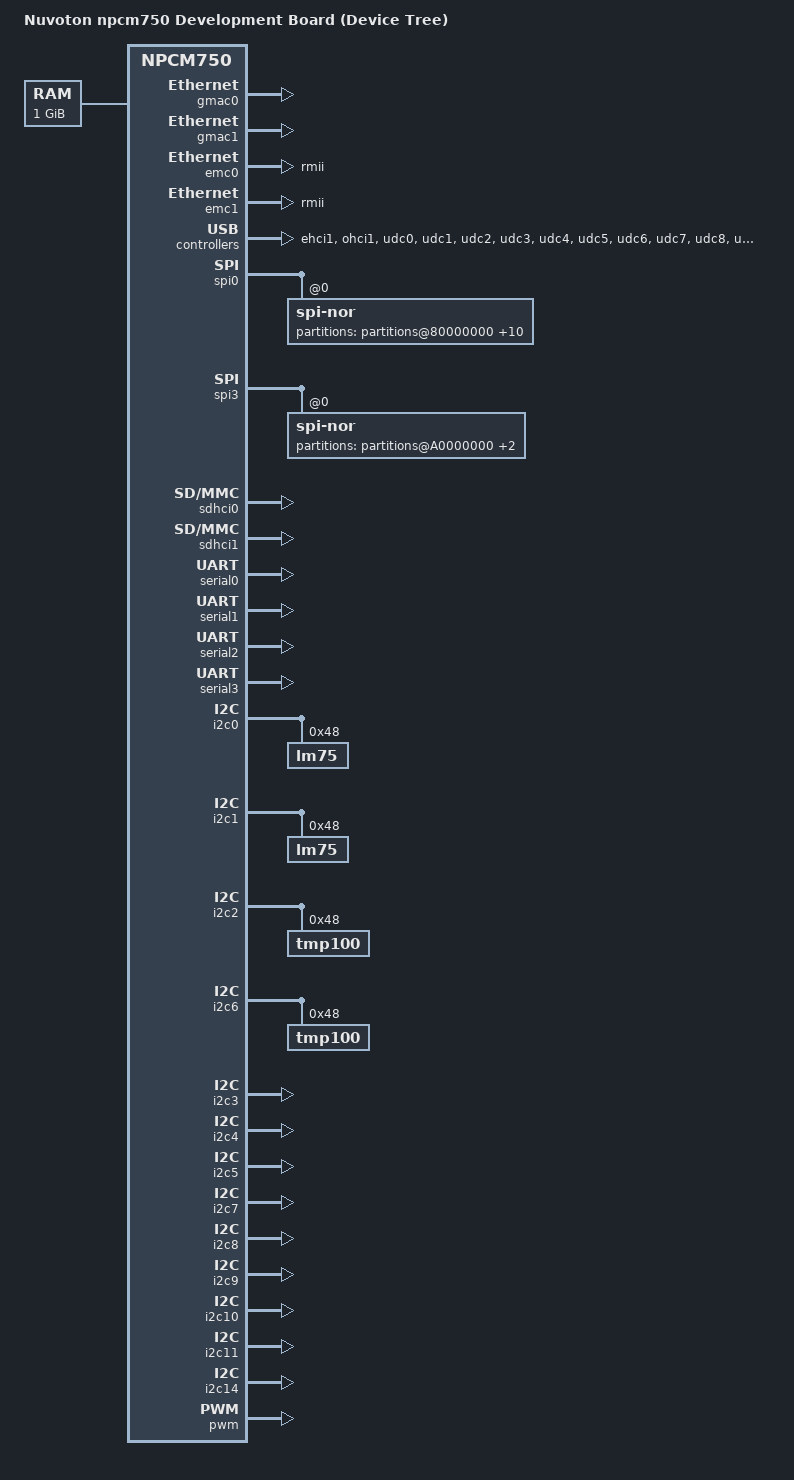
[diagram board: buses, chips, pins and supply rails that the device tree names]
// SPDX-License-Identifier: GPL-2.0
// Copyright (c) 2018 Nuvoton Technology tomer.maimon@nuvoton.com
// Copyright 2018 Google, Inc.

/dts-v1/;
#include "nuvoton-npcm750.dtsi"

/ {
	model = "Nuvoton npcm750 Development Board (Device Tree)";
	compatible = "nuvoton,npcm750";

	aliases {
		ethernet0 = &emc0;
		ethernet1 = &emc1;
		ethernet2 = &gmac0;
		ethernet3 = &gmac1;
		serial0 = &serial0;
		serial1 = &serial1;
		serial2 = &serial2;
		serial3 = &serial3;
		udc0 = &udc0;
		udc1 = &udc1;
		udc2 = &udc2;
		udc3 = &udc3;
		udc4 = &udc4;
		udc5 = &udc5;
		udc6 = &udc6;
		udc7 = &udc7;
		udc8 = &udc8;
		udc9 = &udc9;
		emmc0 = &sdhci0;
		emmc1 = &sdhci1;
		i2c0 = &i2c0;
		i2c1 = &i2c1;
		i2c2 = &i2c2;
		i2c3 = &i2c3;
		i2c4 = &i2c4;
		i2c5 = &i2c5;
		i2c6 = &i2c6;
		i2c7 = &i2c7;
		i2c8 = &i2c8;
		i2c9 = &i2c9;
		i2c10 = &i2c10;
		i2c11 = &i2c11;
		i2c12 = &i2c12;
		i2c13 = &i2c13;
		i2c14 = &i2c14;
		i2c15 = &i2c15;
	};

	chosen {
		stdout-path = &serial3;
	};

	memory {
		reg = <0 0x40000000>;
	};

	ahb {
	        gmac0: eth@f0802000 {
			status = "okay";
		};

		gmac1: eth@f0804000 {
			status = "okay";
		};

		emc0: eth@f0825000 {
			phy-mode = "rmii";
			#use-ncsi; /* add this to support ncsi */
			status = "okay";
		};

		emc1: eth@f0826000 {
			phy-mode = "rmii";
			#use-ncsi; /* add this to support ncsi */
			status = "okay";
		};

		ehci1: ehci@f0806000 {
			status = "okay";
		};

		ohci1: ohci@f0807000 {
			status = "okay";
		};

		udc0:udc@f0830000 {
			status = "okay";
		};

		udc1:udc@f0831000 {
			status = "okay";
		};

		udc2:udc@f0832000 {
			status = "okay";
		};

		udc3:udc@f0833000 {
			status = "okay";
		};

		udc4:udc@f0834000 {
			status = "okay";
		};

		udc5:udc@f0835000 {
			status = "okay";
		};

		udc6:udc@f0836000 {
			status = "okay";
		};

		udc7:udc@f0837000 {
			status = "okay";
		};

		udc8:udc@f0838000 {
			status = "okay";
		};

		udc9:udc@f0839000 {
			status = "okay";
		};

		aes:aes@f0858000 {
			status = "okay";
		};

		sha:sha@f085a000 {
			status = "okay";
		};

		spi0: spi@fb000000 {
			spi-nor@0 {
				partitions@80000000 {
					compatible = "fixed-partitions";
					#address-cells = <1>;
					#size-cells = <1>;
					bbuboot1@0 {
						label = "bb-uboot-1";
						reg = <0x0000000 0x80000>;
						read-only;
						};
					bbuboot2@80000 {
						label = "bb-uboot-2";
						reg = <0x0080000 0x80000>;
						read-only;
						};
					envparam@100000 {
						label = "env-param";
						reg = <0x0100000 0x40000>;
						read-only;
						};
					spare@140000 {
						label = "spare";
						reg = <0x0140000 0xC0000>;
						};
					kernel@200000 {
						label = "kernel";
						reg = <0x0200000 0x400000>;
						};
					rootfs@600000 {
						label = "rootfs";
						reg = <0x0600000 0x700000>;
						};
					spare1@D00000 {
						label = "spare1";
						reg = <0x0D00000 0x200000>;
						};
					spare2@0F00000 {
						label = "spare2";
						reg = <0x0F00000 0x200000>;
						};
					spare3@1100000 {
						label = "spare3";
						reg = <0x1100000 0x200000>;
						};
					spare4@1300000 {
						label = "spare4";
						reg = <0x1300000 0x0>;
					};
				};
			};
		};

		spi3: spi@c0000000 {
				spi-nor@0 {
				partitions@A0000000 {
					compatible = "fixed-partitions";
					#address-cells = <1>;
					#size-cells = <1>;
					system1@0 {
						label = "spi3-system1";
						reg = <0x0 0x800000>;
					};
					system2@800000 {
						label = "spi3-system2";
						reg = <0x800000 0x0>;
					};
				};
			};
		};

		sdhci0: sdhci@f0840000 {
			status = "okay";
		};

		sdhci1: sdhci@f0842000 {
			status = "okay";
		};

		apb {

			watchdog1: watchdog@901C {
				status = "okay";
			};

			rng: rng@b000 {
				status = "okay";
			};

			serial0: serial@1000 {
				status = "okay";
			};

			serial1: serial@2000 {
				status = "okay";
			};

			serial2: serial@3000 {
				status = "okay";
			};

			serial3: serial@4000 {
				status = "okay";
			};

			otp:otp@189000 {
				status = "okay";
			};

			lpc_kcs: lpc_kcs@7000 {
				kcs1: kcs1@0 {
					status = "okay";
				};

				kcs2: kcs2@0 {
					status = "okay";
				};

				kcs3: kcs3@0 {
					status = "okay";
				};
			};

			/* lm75 on SVB */
			i2c0: i2c-bus@80000 {
				#address-cells = <1>;
				#size-cells = <0>;
				status = "okay";

				lm75@48 {
					compatible = "lm75";
					reg = <0x48>;
					status = "okay";
				};
			};

			/* lm75 on EB */
			i2c1: i2c-bus@81000 {
				#address-cells = <1>;
				#size-cells = <0>;
				status = "okay";

				lm75@48 {
					compatible = "lm75";
					reg = <0x48>;
					status = "okay";
				};
			};

			/* tmp100 on EB */
			i2c2: i2c-bus@82000 {
				#address-cells = <1>;
				#size-cells = <0>;
				status = "okay";

				tmp100@48 {
					compatible = "tmp100";
					reg = <0x48>;
					status = "okay";
				};
			};

			/* tmp100 on SVB */
			i2c6: i2c-bus@86000 {
				#address-cells = <1>;
				#size-cells = <0>;
				status = "okay";

				tmp100@48 {
					compatible = "tmp100";
					reg = <0x48>;
					status = "okay";
				};
			};
			i2c3: i2c-bus@83000 {
				#address-cells = <1>;
				#size-cells = <0>;
				status = "okay";
			};

			i2c4: i2c-bus@84000 {
				#address-cells = <1>;
				#size-cells = <0>;
				status = "okay";
			};

			i2c5: i2c-bus@85000 {
				#address-cells = <1>;
				#size-cells = <0>;
				status = "okay";
			};

			i2c7: i2c-bus@87000 {
				#address-cells = <1>;
				#size-cells = <0>;
				status = "okay";
			};

			i2c8: i2c-bus@88000 {
				#address-cells = <1>;
				#size-cells = <0>;
				status = "okay";
			};

			i2c9: i2c-bus@89000 {
				#address-cells = <1>;
				#size-cells = <0>;
				status = "okay";
			};

			i2c10: i2c-bus@8a000 {
				#address-cells = <1>;
				#size-cells = <0>;
				status = "okay";
			};

			i2c11: i2c-bus@8b000 {
				#address-cells = <1>;
				#size-cells = <0>;
				status = "okay";
			};

			i2c14: i2c-bus@8e000 {
				#address-cells = <1>;
				#size-cells = <0>;
				status = "okay";
			};

			i2c15: i2c-bus@8f000 {
				#address-cells = <1>;
				#size-cells = <0>;
				status = "disabled";               /* SVB conflict with pspi2 cs gpio20o_pins */
			};

			fan: fan@0 {
				pinctrl-names = "default";
				pinctrl-0 = </*&fanin0_pins*/     /* SVB conflict with pspi1 enable gpio64o_pins */
						&fanin1_pins
						&fanin2_pins
						&fanin3_pins
						&fanin4_pins
						&fanin5_pins
						&fanin6_pins
						&fanin7_pins
						&fanin8_pins
						&fanin9_pins
						&fanin10_pins
						&fanin11_pins
						&fanin12_pins
						&fanin13_pins
						&fanin14_pins
						&fanin15_pins>;
				status = "okay";
			};

			pwm: pwm@103000 {
				pinctrl-names = "default";
				pinctrl-0 = <	&pwm0_pins
						&pwm1_pins
						&pwm2_pins
						&pwm3_pins
						&pwm4_pins
						&pwm5_pins
						&pwm6_pins
						&pwm7_pins>;
				status = "okay";
			};

	/* Here is an example for future pspi binding */
	/*
			pspi: pspi@0 {
				pinctrl-names = "default";
				pinctrl-0 = <&pspi1_pins &pspi2_pins &gpio20o_pins &gpio203o_pins> ;
				cs-gpios = <&gpio 20 1>, <&gpio 203 1>;
				status = "okay";
			};
	*/
		};
	};

	pinctrl: pinctrl@0 {
		pinctrl-names = "default";
		pinctrl-0 = <	&iox1_pins
				&gpio8_pins
				&gpio9o_pins
				&gpio10_pins
				&gpio11o_pins
				&gpio16_pins
				&gpio24o_pins
				&gpio25ol_pins
				&gpio32o_pins
				&jtag2_pins
				&gpio61o_pins
				&gpio62o_pins
				&gpio63o_pins
				&gpio64o_pins      /* SVB pspi1 enable */
				&gpio80_pins
				&gpio81_pins
				&gpio82_pins
				&gpio83_pins
				&lpc_pins
				&gpio132o_pins
				&gpio133_pins
				&gpio134_pins
				&gpio135_pins
				&gpio144_pins
				&gpio145_pins
				&gpio146_pins
				&gpio147_pins
				&gpio160_pins
				&gpio162_pins
				&gpio168_pins
				&gpio169_pins
				&gpio170_pins
				&gpio187o_pins
				&gpio190_pins
				&gpio191o_pins
				&gpio192o_pins
				&gpio197ol_pins
				&ddc_pins
				&gpio218_pins
				&gpio219ol_pins
				&gpio220ol_pins
				&gpio221o_pins
				&gpio222_pins
				&gpio223ol_pins
				&spix_pins
				&gpio228ol_pins
				&gpio231o_pins
				&gpio255_pins>;
	};
};
